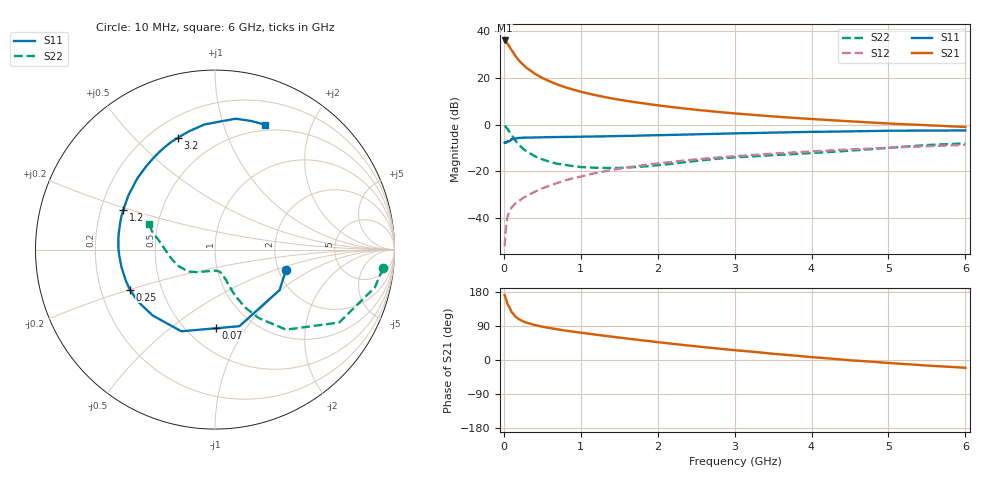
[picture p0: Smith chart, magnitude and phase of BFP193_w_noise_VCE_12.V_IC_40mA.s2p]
! Infineon Technologies  Discrete & RF Semiconductors
! BFP193
! VCE =  12. V,  IC =  40 mA
! Common Emitter S-Parameters:  Jan 2017
# GHz  S  MA  R  50
!  f  S11  S21  S12  S22
! GHz  MAG  ANG  MAG  ANG  MAG  ANG  MAG  ANG
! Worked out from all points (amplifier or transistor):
!   77 points, 10 MHz to 6 GHz, reference 50 ohm
!   highest |S21| = 36.0 dB at 10 MHz (marker M1)
!   |S21| within 3 dB of that: start of sweep to 78.68 MHz
!   unconditionally stable (mu >= 1): 695.3 MHz to 2.436 GHz
!   at 130 MHz: K = 0.51, MSG = 32.4 dB, |S12| = -34.4 dB
!   at 2.2 GHz: K = 1.01, MAG = 10.9 dB, |S12| = -15.9 dB
!   at 6 GHz: K = 0.89, MSG = 3.8 dB, |S12| = -8.7 dB
!   lowest NFmin = 1.38 dB at 450 MHz
!   S11 on the Smith chart (normalised r, x): 10 MHz: 2.20, -0.60; 70 MHz: 0.69, -0.74; 250 MHz: 0.33, -0.20; 1.2 GHz: 0.30, +0.19; 3.2 GHz: 0.31, +0.68; 6 GHz: 0.44, +1.38
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0.01  0.4117 -15.9  63.04 171.7  0.0025 70.0  0.9417 -6.4
0.02  0.4244 -32.0  61.97 165.0  0.0044 76.8  0.9152 -13.3
0.05  0.4479 -72.3  53.39 146.6  0.0111 65.4  0.8025 -30.4
0.07  0.4382 -89.1  47.12 140.0  0.0133 62.0  0.7122 -36.3
0.1  0.4924 -112.4  39.34 126.4  0.0167 58.6  0.5964 -48.4
0.15  0.5053 -133.4  29.46 114.7  0.0205 55.1  0.4529 -57.4
0.2  0.5172 -145.8  23.24 107.3  0.0232 56.4  0.3643 -62.4
0.25  0.5239 -154.8  19.08 101.9  0.027 56.3  0.3048 -65.0
0.3  0.5263 -160.8  16.11 98.2  0.0297 58.1  0.263 -67.0
0.4  0.5303 -169.6  12.31 92.2  0.0363 61.5  0.2106 -68.9
0.5  0.5341 -176.1  9.924 87.8  0.0432 62.8  0.1799 -70.2
0.7  0.5411 174.5  7.157 80.9  0.0566 64.9  0.1445 -72.7
0.9  0.546 166.7  5.588 74.8  0.071 65.2  0.1297 -76.9
1.1  0.5536 160.0  4.608 69.5  0.0853 64.3  0.1213 -81.8
1.2  0.5562 156.8  4.228 66.7  0.0916 63.7  0.1188 -84.5
1.6  0.5726 145.1  3.203 56.7  0.1203 60.2  0.1205 -99.2
2.1  0.5968 131.6  2.464 44.9  0.1541 54.9  0.1402 -119.0
3.1  0.652 110.0  1.682 24.1  0.216 43.3  0.2025 -146.8
3.2  0.6564 108.2  1.632 22.4  0.2217 42.2  0.2069 -149.1
4.1  0.7014 93.5  1.285 6.1  0.2719 32.2  0.2512 -169.9
5.1  0.7387 79.6  1.036 -9.2  0.3242 21.0  0.3265 169.1
6  0.7493 68.3  0.889 -20.6  0.3667 11.0  0.3954 159.0
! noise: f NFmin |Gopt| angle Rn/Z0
0.45  1.38  0.38  -172  0.08
0.9  1.43  0.41  -167  0.08
1.9  2.05  0.59  -135  0.2
2.4  2.37  0.63  -120  0.42
